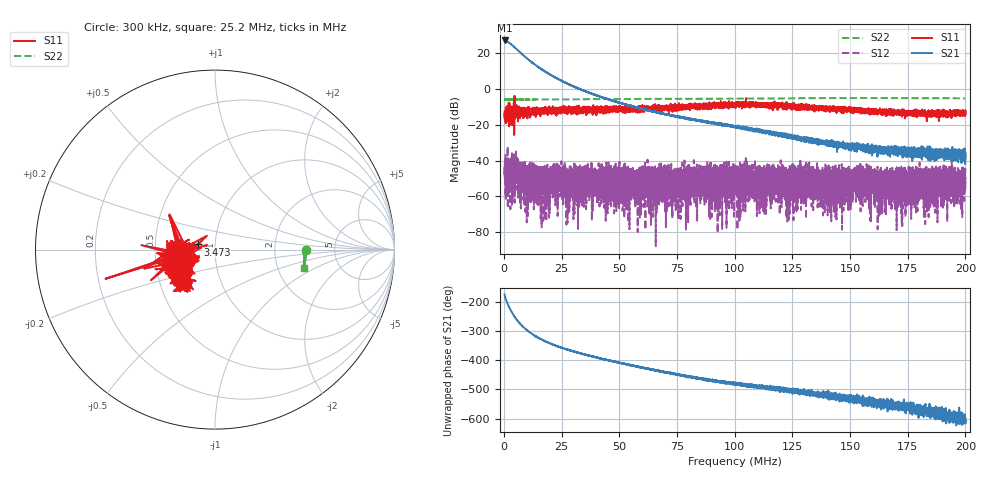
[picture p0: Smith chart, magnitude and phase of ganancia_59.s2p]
# Hz S DB R 50
! CMT, M5065, 19127446, 24.2.4/2
! Date: 11/8/2024 3:24:38 PM
! Data: Format (Calibration Info)
! Freq	S11:dB/Ang(F2)	S21:dB/Ang(F2)	S12:dB/Ang(F2)	S22:dB/Ang(F2)
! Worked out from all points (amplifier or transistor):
!   9000 points, 300 kHz to 200 MHz, reference 50 ohm
!   highest |S21| = 26.9 dB at 366.6 kHz (marker M1)
!   |S21| within 3 dB of that: start of sweep to 3.924 MHz
!   unconditionally stable (mu >= 1): start of sweep to 1.607 MHz; 1.611 MHz to end of sweep
!   at 33.59 MHz: K = 448.00, MAG = 1.1 dB, |S12| = -61.7 dB
!   at 100.2 MHz: K = 994.02, MAG = -18.8 dB, |S12| = -49.1 dB
!   at 200 MHz: K = 8769.67, MAG = -36.8 dB, |S12| = -49.7 dB
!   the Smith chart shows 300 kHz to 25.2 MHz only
!   S11 on the Smith chart (normalised r, x): 300 kHz: 0.67, -0.09; 3.473 MHz: 0.82, +0.05; 25.2 MHz: 0.64, -0.25
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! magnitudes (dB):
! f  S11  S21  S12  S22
! 300 kHz  -13.8  26.8  -48.9  -5.9
! 366.6 kHz  -14.6  26.9  -47.3  -6.0
! 3.473 MHz  -19.9  24.4  -64.6  -6.0
! 11.35 MHz  -16.1  15.4  -52.4  -5.9
! 25.2 MHz  -11.6  4.3  -50.7  -5.9
! 27.4 MHz  -11.4  2.9  -51.1  -5.9
! 33.59 MHz  -11.2  -0.6  -61.7  -5.9
! 35.85 MHz  -11.7  -1.7  -50.6  -5.9
! 44.24 MHz  -11.6  -5.5  -48.2  -5.8
! 65.56 MHz  -11.0  -12.9  -54.9  -5.7
! 66.87 MHz  -11.3  -13.2  -52.2  -5.6
! 74.8 MHz  -10.1  -15.5  -49.2  -5.6
! 100.2 MHz  -9.6  -20.8  -49.1  -5.5
! 133.4 MHz  -9.6  -28.5  -48.4  -5.3
! 150.2 MHz  -12.2  -31.2  -49.2  -5.2
! 155.3 MHz  -12.5  -31.9  -55.7  -5.2
! 163 MHz  -13.2  -31.9  -70.0  -5.2
! 166.7 MHz  -13.5  -36.0  -53.1  -5.2
! 178.8 MHz  -13.1  -34.2  -51.6  -5.2
! 181.5 MHz  -13.5  -33.5  -47.4  -5.3
! 187 MHz  -15.4  -33.8  -61.4  -5.3
! 200 MHz  -14.4  -38.5  -49.7  -5.4
